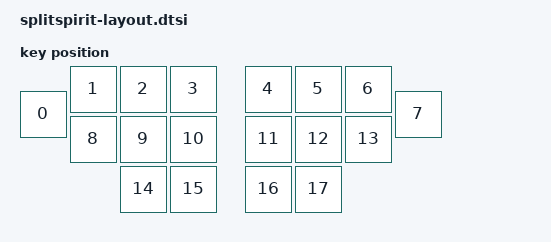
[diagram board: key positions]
#include <physical_layouts.dtsi>

/ {
    physical_layout0: splitspirit_layout {
        compatible = "zmk,physical-layout";
        display-name = "Splitspirit Layout";
        transform = <&default_transform>;
        keys  //                     w   h    x    y     rot    rx    ry
            = <&key_physical_attrs 100 100    0   50       0     0     0>
            , <&key_physical_attrs 100 100  100    0       0     0     0>
            , <&key_physical_attrs 100 100  200    0       0     0     0>
            , <&key_physical_attrs 100 100  300    0       0     0     0>
            , <&key_physical_attrs 100 100  450    0       0     0     0>
            , <&key_physical_attrs 100 100  550    0       0     0     0>
            , <&key_physical_attrs 100 100  650    0       0     0     0>
            , <&key_physical_attrs 100 100  750   50       0     0     0>
            , <&key_physical_attrs 100 100  100  100       0     0     0>
            , <&key_physical_attrs 100 100  200  100       0     0     0>
            , <&key_physical_attrs 100 100  300  100       0     0     0>
            , <&key_physical_attrs 100 100  450  100       0     0     0>
            , <&key_physical_attrs 100 100  550  100       0     0     0>
            , <&key_physical_attrs 100 100  650  100       0     0     0>
            , <&key_physical_attrs 100 100  200  200       0     0     0>
            , <&key_physical_attrs 100 100  300  200       0     0     0>
            , <&key_physical_attrs 100 100  450  200       0     0     0>
            , <&key_physical_attrs 100 100  550  200       0     0     0>
            ;
    };
};
